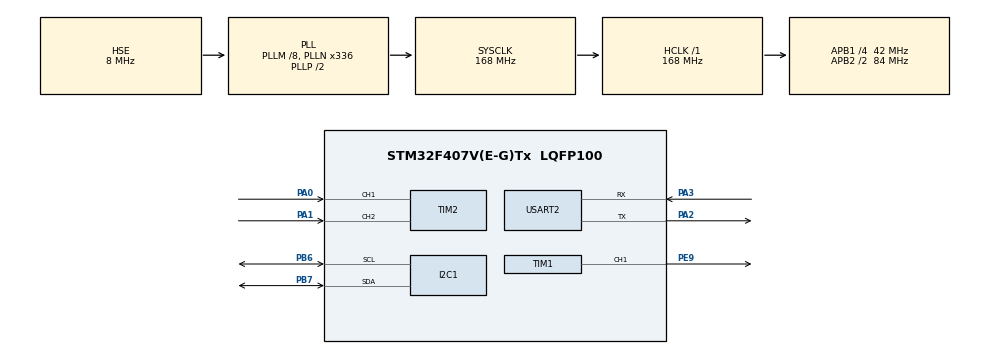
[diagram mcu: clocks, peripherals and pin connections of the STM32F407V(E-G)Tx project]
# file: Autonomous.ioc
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Dma.Request0=TIM1_CH1
Dma.Request1=USART2_RX
Dma.Request2=USART2_TX
Dma.TIM1_CH1.0.Direction=DMA_PERIPH_TO_MEMORY
Dma.TIM1_CH1.0.FIFOMode=DMA_FIFOMODE_DISABLE
Dma.TIM1_CH1.0.Instance=DMA2_Stream1
Dma.TIM1_CH1.0.MemDataAlignment=DMA_MDATAALIGN_HALFWORD
Dma.TIM1_CH1.0.MemInc=DMA_MINC_ENABLE
Dma.TIM1_CH1.0.Mode=DMA_NORMAL
Dma.TIM1_CH1.0.PeriphDataAlignment=DMA_PDATAALIGN_HALFWORD
Dma.TIM1_CH1.0.PeriphInc=DMA_PINC_DISABLE
Dma.TIM1_CH1.0.Priority=DMA_PRIORITY_LOW
Dma.USART2_RX.1.Direction=DMA_PERIPH_TO_MEMORY
Dma.USART2_RX.1.FIFOMode=DMA_FIFOMODE_DISABLE
Dma.USART2_RX.1.Instance=DMA1_Stream5
Dma.USART2_RX.1.MemDataAlignment=DMA_MDATAALIGN_BYTE
Dma.USART2_RX.1.MemInc=DMA_MINC_ENABLE
Dma.USART2_RX.1.Mode=DMA_NORMAL
Dma.USART2_RX.1.PeriphDataAlignment=DMA_PDATAALIGN_BYTE
Dma.USART2_RX.1.PeriphInc=DMA_PINC_DISABLE
Dma.USART2_RX.1.Priority=DMA_PRIORITY_HIGH
Dma.USART2_TX.2.Direction=DMA_MEMORY_TO_PERIPH
Dma.USART2_TX.2.FIFOMode=DMA_FIFOMODE_DISABLE
Dma.USART2_TX.2.Instance=DMA1_Stream6
Dma.USART2_TX.2.MemDataAlignment=DMA_MDATAALIGN_BYTE
Dma.USART2_TX.2.MemInc=DMA_MINC_ENABLE
Dma.USART2_TX.2.Mode=DMA_NORMAL
Dma.USART2_TX.2.PeriphDataAlignment=DMA_PDATAALIGN_BYTE
Dma.USART2_TX.2.PeriphInc=DMA_PINC_DISABLE
Dma.USART2_TX.2.Priority=DMA_PRIORITY_HIGH
I2C1.I2C_Mode=I2C_Fast
Mcu.Family=STM32F4
Mcu.Name=STM32F407V(E-G)Tx
Mcu.Package=LQFP100
NVIC.DMA1_Stream5_IRQn=true\:0\:0\:false\:false\:true\:false\:true\:true
NVIC.DMA1_Stream6_IRQn=true\:0\:0\:false\:false\:true\:false\:true\:true
NVIC.DMA2_Stream1_IRQn=true\:0\:0\:false\:false\:true\:false\:true\:true
NVIC.PriorityGroup=NVIC_PRIORITYGROUP_0
NVIC.TIM2_IRQn=true\:0\:0\:false\:false\:true\:true\:true\:true
NVIC.USART2_IRQn=true\:0\:0\:false\:false\:true\:true\:true\:true
PA0-WKUP.Signal=S_TIM2_CH1_ETR
PA1.Signal=S_TIM2_CH2
PA13.Mode=Serial_Wire
PA13.Signal=SYS_JTMS-SWDIO
PA14.Mode=Serial_Wire
PA14.Signal=SYS_JTCK-SWCLK
PA2.Mode=Asynchronous
PA2.Signal=USART2_TX
PA3.Mode=Asynchronous
PA3.Signal=USART2_RX
PB6.Mode=I2C
PB6.Signal=I2C1_SCL
PB7.Mode=I2C
PB7.Signal=I2C1_SDA
PC14-OSC32_IN.Mode=LSE-External-Oscillator
PC14-OSC32_IN.Signal=RCC_OSC32_IN
PC15-OSC32_OUT.Mode=LSE-External-Oscillator
PC15-OSC32_OUT.Signal=RCC_OSC32_OUT
PE9.Signal=S_TIM1_CH1
PH0-OSC_IN.Mode=HSE-External-Oscillator
PH0-OSC_IN.Signal=RCC_OSC_IN
PH1-OSC_OUT.Mode=HSE-External-Oscillator
PH1-OSC_OUT.Signal=RCC_OSC_OUT
ProjectManager.HeapSize=0x200
ProjectManager.StackSize=0x400
ProjectManager.TargetToolchain=STM32CubeIDE
RCC.48MHZClocksFreq_Value=48000000
RCC.AHBFreq_Value=168000000
RCC.APB1CLKDivider=RCC_HCLK_DIV4
RCC.APB1Freq_Value=42000000
RCC.APB1TimFreq_Value=84000000
RCC.APB2CLKDivider=RCC_HCLK_DIV2
RCC.APB2Freq_Value=84000000
RCC.APB2TimFreq_Value=168000000
RCC.CortexFreq_Value=168000000
RCC.HCLKFreq_Value=168000000
RCC.HSE_VALUE=8000000
RCC.HSI_VALUE=16000000
RCC.PLLM=8
RCC.PLLN=336
RCC.PLLQ=7
RCC.PLLSourceVirtual=RCC_PLLSOURCE_HSE
RCC.SYSCLKFreq_VALUE=168000000
RCC.SYSCLKSource=RCC_SYSCLKSOURCE_PLLCLK
RCC.VCOOutputFreq_Value=336000000
SH.S_TIM1_CH1.0=TIM1_CH1,PWM Generation1 CH1
SH.S_TIM2_CH1_ETR.0=TIM2_CH1,Encoder_Interface
SH.S_TIM2_CH2.0=TIM2_CH2,Encoder_Interface
TIM1.Channel-PWM\ Generation1\ CH1=TIM_CHANNEL_1
TIM1.Period=100-1
TIM1.Prescaler=168-1
TIM2.EncoderMode=TIM_ENCODERMODE_TI12
USART2.VirtualMode=VM_ASYNC
VP_TIM1_VS_ClockSourceINT.Mode=Internal
board=STM32F407G-DISC1

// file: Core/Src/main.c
/* USER CODE BEGIN Header */
/**
  ******************************************************************************
  * @file           : main.c
  * @brief          : Main program body
  ******************************************************************************
  * @attention
  *
  * Copyright (c) 2024 STMicroelectronics.
  * All rights reserved.
  *
  * This software is licensed under terms that can be found in the LICENSE file
  * in the root directory of this software component.
  * If no LICENSE file comes with this software, it is provided AS-IS.
  *
  ******************************************************************************
  */
/* USER CODE END Header */
#include "main.h"

/* USER CODE BEGIN Includes */
#include "MPU9250.h"
#include "mpu9250_app.h"
#include "motor.h"
#include "mainpp.h"
/* USER CODE END Includes */

/* USER CODE BEGIN PM */
uint16_t error;
/* USER CODE END PM */

I2C_HandleTypeDef hi2c1;

TIM_HandleTypeDef htim1;
TIM_HandleTypeDef htim2;
DMA_HandleTypeDef hdma_tim1_ch1;

UART_HandleTypeDef huart2;
DMA_HandleTypeDef hdma_usart2_rx;
DMA_HandleTypeDef hdma_usart2_tx;

void SystemClock_Config(void);
static void MX_GPIO_Init(void);
static void MX_DMA_Init(void);
static void MX_I2C1_Init(void);
static void MX_TIM1_Init(void);
static void MX_USART2_UART_Init(void);
static void MX_TIM2_Init(void);

/* USER CODE BEGIN 0 */
imu_9250_t* imu_9250_0;
Struct_Angle Angle;
motor_t* motor_0;
int timer;
void HAL_TIM_IC_CaptureCallback(TIM_HandleTypeDef *htim)
{
	if(htim == &htim2)
	{
		motor_0->Prop_p.timer_counter = __HAL_TIM_GET_COUNTER(&htim2);
		motor_0->Prop_p.measure_speed = motor_0->Prop_p.timer_counter /4;
	}
}
/* USER CODE END 0 */

int main(void)
{

  /* MCU Configuration--------------------------------------------------------*/

  /* Reset of all peripherals, Initializes the Flash interface and the Systick. */
  HAL_Init();

  /* Configure the system clock */
  SystemClock_Config();

  /* Initialize all configured peripherals */
  MX_GPIO_Init();
  MX_DMA_Init();
  MX_I2C1_Init();
  MX_TIM1_Init();
  MX_USART2_UART_Init();
  MX_TIM2_Init();
  /* USER CODE BEGIN 2 */
  imu_9250_0 = IMU_9250_Create();
  calibrateGyro(imu_9250_0, 500);
//  motor_0 = MOTOR_Create();
//  motor_0->Prop_p.out_speed = 20;
  setup();
  /* USER CODE END 2 */

  /* Infinite loop */
  /* USER CODE BEGIN WHILE */
  while (1)
  {
	  imu_9250_0->get_data(imu_9250_0);			// pointer store address of MPU9250_ProcessData function
//	  CalculateGyroAngle(&Angle, imu_9250_0);
//	  motor_0->control_speed(motor_0);
//	  timer++;
	  loop();
    /* USER CODE END WHILE */

  }
}

void SystemClock_Config(void)
{
  RCC_OscInitTypeDef RCC_OscInitStruct = {0};
  RCC_ClkInitTypeDef RCC_ClkInitStruct = {0};

  /** Configure the main internal regulator output voltage
  */
  __HAL_RCC_PWR_CLK_ENABLE();
  __HAL_PWR_VOLTAGESCALING_CONFIG(PWR_REGULATOR_VOLTAGE_SCALE1);

  /** Initializes the RCC Oscillators according to the specified parameters
  * in the RCC_OscInitTypeDef structure.
  */
  RCC_OscInitStruct.OscillatorType = RCC_OSCILLATORTYPE_HSE;
  RCC_OscInitStruct.HSEState = RCC_HSE_ON;
  RCC_OscInitStruct.PLL.PLLState = RCC_PLL_ON;
  RCC_OscInitStruct.PLL.PLLSource = RCC_PLLSOURCE_HSE;
  RCC_OscInitStruct.PLL.PLLM = 8;
  RCC_OscInitStruct.PLL.PLLN = 336;
  RCC_OscInitStruct.PLL.PLLP = RCC_PLLP_DIV2;
  RCC_OscInitStruct.PLL.PLLQ = 7;
  if (HAL_RCC_OscConfig(&RCC_OscInitStruct) != HAL_OK)
  {
    Error_Handler();
  }

  /** Initializes the CPU, AHB and APB buses clocks
  */
  RCC_ClkInitStruct.ClockType = RCC_CLOCKTYPE_HCLK|RCC_CLOCKTYPE_SYSCLK
                              |RCC_CLOCKTYPE_PCLK1|RCC_CLOCKTYPE_PCLK2;
  RCC_ClkInitStruct.SYSCLKSource = RCC_SYSCLKSOURCE_PLLCLK;
  RCC_ClkInitStruct.AHBCLKDivider = RCC_SYSCLK_DIV1;
  RCC_ClkInitStruct.APB1CLKDivider = RCC_HCLK_DIV4;
  RCC_ClkInitStruct.APB2CLKDivider = RCC_HCLK_DIV2;

  if (HAL_RCC_ClockConfig(&RCC_ClkInitStruct, FLASH_LATENCY_5) != HAL_OK)
  {
    Error_Handler();
  }
}

static void MX_I2C1_Init(void)
{

  hi2c1.Instance = I2C1;
  hi2c1.Init.ClockSpeed = 400000;
  hi2c1.Init.DutyCycle = I2C_DUTYCYCLE_2;
  hi2c1.Init.OwnAddress1 = 0;
  hi2c1.Init.AddressingMode = I2C_ADDRESSINGMODE_7BIT;
  hi2c1.Init.DualAddressMode = I2C_DUALADDRESS_DISABLE;
  hi2c1.Init.OwnAddress2 = 0;
  hi2c1.Init.GeneralCallMode = I2C_GENERALCALL_DISABLE;
  hi2c1.Init.NoStretchMode = I2C_NOSTRETCH_DISABLE;
  if (HAL_I2C_Init(&hi2c1) != HAL_OK)
  {
    Error_Handler();
  }

}

static void MX_TIM1_Init(void)
{

  TIM_ClockConfigTypeDef sClockSourceConfig = {0};
  TIM_MasterConfigTypeDef sMasterConfig = {0};
  TIM_OC_InitTypeDef sConfigOC = {0};
  TIM_BreakDeadTimeConfigTypeDef sBreakDeadTimeConfig = {0};

  htim1.Instance = TIM1;
  htim1.Init.Prescaler = 168-1;
  htim1.Init.CounterMode = TIM_COUNTERMODE_UP;
  htim1.Init.Period = 100-1;
  htim1.Init.ClockDivision = TIM_CLOCKDIVISION_DIV1;
  htim1.Init.RepetitionCounter = 0;
  htim1.Init.AutoReloadPreload = TIM_AUTORELOAD_PRELOAD_DISABLE;
  if (HAL_TIM_Base_Init(&htim1) != HAL_OK)
  {
    Error_Handler();
  }
  sClockSourceConfig.ClockSource = TIM_CLOCKSOURCE_INTERNAL;
  if (HAL_TIM_ConfigClockSource(&htim1, &sClockSourceConfig) != HAL_OK)
  {
    Error_Handler();
  }
  if (HAL_TIM_PWM_Init(&htim1) != HAL_OK)
  {
    Error_Handler();
  }
  sMasterConfig.MasterOutputTrigger = TIM_TRGO_RESET;
  sMasterConfig.MasterSlaveMode = TIM_MASTERSLAVEMODE_DISABLE;
  if (HAL_TIMEx_MasterConfigSynchronization(&htim1, &sMasterConfig) != HAL_OK)
  {
    Error_Handler();
  }
  sConfigOC.OCMode = TIM_OCMODE_PWM1;
  sConfigOC.Pulse = 0;
  sConfigOC.OCPolarity = TIM_OCPOLARITY_HIGH;
  sConfigOC.OCNPolarity = TIM_OCNPOLARITY_HIGH;
  sConfigOC.OCFastMode = TIM_OCFAST_DISABLE;
  sConfigOC.OCIdleState = TIM_OCIDLESTATE_RESET;
  sConfigOC.OCNIdleState = TIM_OCNIDLESTATE_RESET;
  if (HAL_TIM_PWM_ConfigChannel(&htim1, &sConfigOC, TIM_CHANNEL_1) != HAL_OK)
  {
    Error_Handler();
  }
  sBreakDeadTimeConfig.OffStateRunMode = TIM_OSSR_DISABLE;
  sBreakDeadTimeConfig.OffStateIDLEMode = TIM_OSSI_DISABLE;
  sBreakDeadTimeConfig.LockLevel = TIM_LOCKLEVEL_OFF;
  sBreakDeadTimeConfig.DeadTime = 0;
  sBreakDeadTimeConfig.BreakState = TIM_BREAK_DISABLE;
  sBreakDeadTimeConfig.BreakPolarity = TIM_BREAKPOLARITY_HIGH;
  sBreakDeadTimeConfig.AutomaticOutput = TIM_AUTOMATICOUTPUT_DISABLE;
  if (HAL_TIMEx_ConfigBreakDeadTime(&htim1, &sBreakDeadTimeConfig) != HAL_OK)
  {
    Error_Handler();
  }
  HAL_TIM_MspPostInit(&htim1);

}

static void MX_TIM2_Init(void)
{

  TIM_Encoder_InitTypeDef sConfig = {0};
  TIM_MasterConfigTypeDef sMasterConfig = {0};

  htim2.Instance = TIM2;
  htim2.Init.Prescaler = 0;
  htim2.Init.CounterMode = TIM_COUNTERMODE_UP;
  htim2.Init.Period = 4294967295;
  htim2.Init.ClockDivision = TIM_CLOCKDIVISION_DIV1;
  htim2.Init.AutoReloadPreload = TIM_AUTORELOAD_PRELOAD_DISABLE;
  sConfig.EncoderMode = TIM_ENCODERMODE_TI12;
  sConfig.IC1Polarity = TIM_ICPOLARITY_RISING;
  sConfig.IC1Selection = TIM_ICSELECTION_DIRECTTI;
  sConfig.IC1Prescaler = TIM_ICPSC_DIV1;
  sConfig.IC1Filter = 0;
  sConfig.IC2Polarity = TIM_ICPOLARITY_RISING;
  sConfig.IC2Selection = TIM_ICSELECTION_DIRECTTI;
  sConfig.IC2Prescaler = TIM_ICPSC_DIV1;
  sConfig.IC2Filter = 0;
  if (HAL_TIM_Encoder_Init(&htim2, &sConfig) != HAL_OK)
  {
    Error_Handler();
  }
  sMasterConfig.MasterOutputTrigger = TIM_TRGO_RESET;
  sMasterConfig.MasterSlaveMode = TIM_MASTERSLAVEMODE_DISABLE;
  if (HAL_TIMEx_MasterConfigSynchronization(&htim2, &sMasterConfig) != HAL_OK)
  {
    Error_Handler();
  }

}

static void MX_USART2_UART_Init(void)
{

  huart2.Instance = USART2;
  huart2.Init.BaudRate = 115200;
  huart2.Init.WordLength = UART_WORDLENGTH_8B;
  huart2.Init.StopBits = UART_STOPBITS_1;
  huart2.Init.Parity = UART_PARITY_NONE;
  huart2.Init.Mode = UART_MODE_TX_RX;
  huart2.Init.HwFlowCtl = UART_HWCONTROL_NONE;
  huart2.Init.OverSampling = UART_OVERSAMPLING_16;
  if (HAL_UART_Init(&huart2) != HAL_OK)
  {
    Error_Handler();
  }

}

static void MX_DMA_Init(void)
{

  /* DMA controller clock enable */
  __HAL_RCC_DMA2_CLK_ENABLE();
  __HAL_RCC_DMA1_CLK_ENABLE();

  /* DMA interrupt init */
  /* DMA1_Stream5_IRQn interrupt configuration */
  HAL_NVIC_SetPriority(DMA1_Stream5_IRQn, 0, 0);
  HAL_NVIC_EnableIRQ(DMA1_Stream5_IRQn);
  /* DMA1_Stream6_IRQn interrupt configuration */
  HAL_NVIC_SetPriority(DMA1_Stream6_IRQn, 0, 0);
  HAL_NVIC_EnableIRQ(DMA1_Stream6_IRQn);
  /* DMA2_Stream1_IRQn interrupt configuration */
  HAL_NVIC_SetPriority(DMA2_Stream1_IRQn, 0, 0);
  HAL_NVIC_EnableIRQ(DMA2_Stream1_IRQn);

}

static void MX_GPIO_Init(void)
{

  /* GPIO Ports Clock Enable */
  __HAL_RCC_GPIOC_CLK_ENABLE();
  __HAL_RCC_GPIOH_CLK_ENABLE();
  __HAL_RCC_GPIOA_CLK_ENABLE();
  __HAL_RCC_GPIOE_CLK_ENABLE();
  __HAL_RCC_GPIOB_CLK_ENABLE();

}

void Error_Handler(void)
{
  __disable_irq();
  while (1)
  {
  }
}
